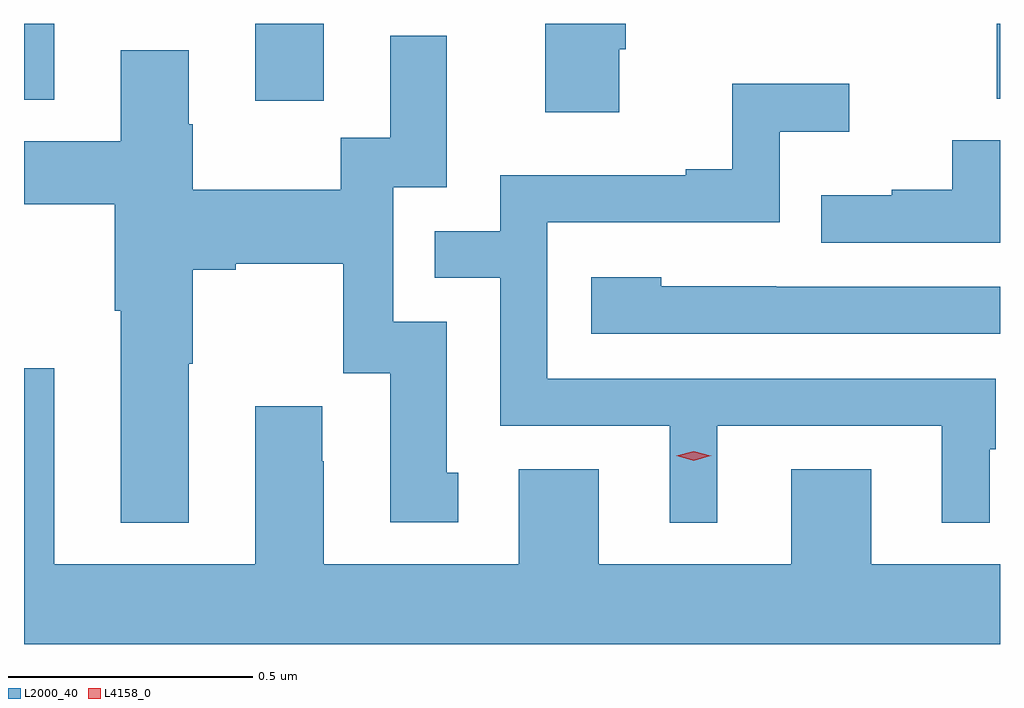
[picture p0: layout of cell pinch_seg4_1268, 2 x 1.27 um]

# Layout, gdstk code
import gdstk
lib = gdstk.Library(unit=1e-6, precision=1e-09)
def R(c, l, rs):  # rectangles x0, y0, x1, y1
    for r in rs: c.add(gdstk.rectangle(r[:2], r[2:], *l))
def P(c, l, *ps):  # polygons
    for p in ps: c.add(gdstk.Polygon(p, *l))
L2000_40 = (2000, 40)
L4158_0 = (4158, 0)

pinch_seg4_1268 = lib.new_cell('pinch_seg4_1268')
R(pinch_seg4_1268, L2000_40, [(142.175,816.582,142.315,816.74), (141.701,816.584,141.763,816.74), (143.694,816.586,143.701,816.74)])
P(pinch_seg4_1268, L2000_40, [(142.921,816.687),(142.934,816.687),(142.934,816.74),(142.769,816.74),(142.769,816.558),(142.921,816.558)],
  [(142.039,816.043),(142.047,816.043),(142.047,816.236),(142.135,816.236),(142.135,816.248),(142.355,816.248),(142.355,816.024),(142.451,816.024),(142.451,815.718),(142.591,815.718),(142.591,815.82),(142.567,815.82),(142.567,816.129),(142.458,816.129),(142.458,816.405),(142.567,816.405),(142.567,816.715),(142.451,816.715),(142.451,816.506),(142.35,816.506),(142.35,816.4),(142.047,816.4),(142.047,816.534),(142.039,816.534),(142.039,816.685),(141.899,816.685),(141.899,816.499),(141.701,816.499),(141.701,816.37),(141.887,816.37),(141.887,816.152),(141.899,816.152),(141.899,815.717),(142.039,815.717)],
  [(143.122,815.916),(143.582,815.916),(143.582,815.717),(143.68,815.717),(143.68,815.868),(143.692,815.868),(143.692,816.012),(142.773,816.012),(142.773,816.333),(143.25,816.333),(143.25,816.518),(143.392,816.518),(143.392,816.617),(143.152,816.617),(143.152,816.442),(143.057,816.442),(143.057,816.429),(142.677,816.429),(142.677,816.315),(142.543,816.315),(142.543,816.219),(142.677,816.219),(142.677,815.916),(143.024,815.916),(143.024,815.717),(143.122,815.717)],
  [(143.701,816.501),(143.603,816.501),(143.603,816.4),(143.479,816.4),(143.479,816.388),(143.335,816.388),(143.335,816.291),(143.701,816.291)],
  [(143.701,816.201),(143.243,816.201),(143.243,816.202),(143.007,816.202),(143.007,816.22),(142.863,816.22),(142.863,816.105),(143.701,816.105)],
  [(143.701,815.632),(143.437,815.632),(143.437,815.827),(143.273,815.827),(143.273,815.632),(142.879,815.632),(142.879,815.827),(142.715,815.827),(142.715,815.632),(142.315,815.632),(142.315,815.843),(142.312,815.843),(142.312,815.956),(142.175,815.956),(142.175,815.632),(141.763,815.632),(141.763,816.034),(141.701,816.034),(141.701,815.468),(143.701,815.468)])
P(pinch_seg4_1268, L4158_0, [(143.073,815.844),(143.038,815.854),(143.037,815.854),(143.038,815.854),(143.073,815.864),(143.108,815.854),(143.109,815.854),(143.108,815.854)])

lib.write_gds('pinch_seg4_1268.gds')
